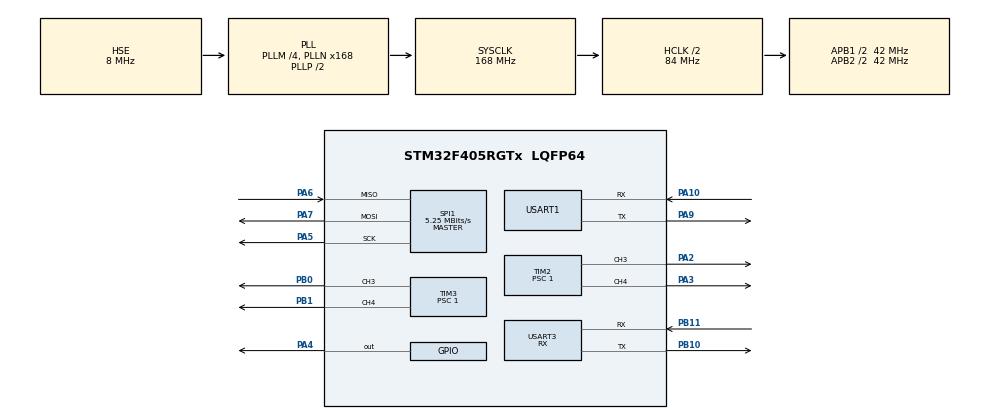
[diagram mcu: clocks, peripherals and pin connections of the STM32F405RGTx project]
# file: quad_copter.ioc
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Mcu.Family=STM32F4
Mcu.Name=STM32F405RGTx
Mcu.Package=LQFP64
NVIC.PriorityGroup=NVIC_PRIORITYGROUP_4
NVIC.TIM4_IRQn=true\:0\:0\:false\:false\:true\:true\:true\:true
NVIC.TIM5_IRQn=true\:0\:0\:false\:false\:true\:true\:true\:true
NVIC.TIM8_UP_TIM13_IRQn=true\:0\:0\:false\:false\:true\:true\:true\:true
NVIC.USART1_IRQn=true\:0\:0\:false\:false\:true\:true\:true\:true
NVIC.USART3_IRQn=true\:0\:0\:false\:false\:true\:true\:true\:true
PA10.Mode=Asynchronous
PA10.Signal=USART1_RX
PA2.Signal=S_TIM2_CH3
PA3.Signal=S_TIM2_CH4
PA4.GPIO_Speed=GPIO_SPEED_FREQ_VERY_HIGH
PA4.Signal=GPIO_Output
PA5.Mode=Full_Duplex_Master
PA5.Signal=SPI1_SCK
PA6.Mode=Full_Duplex_Master
PA6.Signal=SPI1_MISO
PA7.Mode=Full_Duplex_Master
PA7.Signal=SPI1_MOSI
PA9.Mode=Asynchronous
PA9.Signal=USART1_TX
PB0.Signal=S_TIM3_CH3
PB1.Signal=S_TIM3_CH4
PB10.Mode=Asynchronous
PB10.Signal=USART3_TX
PB11.Mode=Asynchronous
PB11.Signal=USART3_RX
PH0-OSC_IN.Mode=HSE-External-Oscillator
PH0-OSC_IN.Signal=RCC_OSC_IN
PH1-OSC_OUT.Mode=HSE-External-Oscillator
PH1-OSC_OUT.Signal=RCC_OSC_OUT
ProjectManager.HeapSize=0x200
ProjectManager.StackSize=0x400
ProjectManager.TargetToolchain=STM32CubeIDE
RCC.48MHZClocksFreq_Value=84000000
RCC.AHBCLKDivider=RCC_SYSCLK_DIV2
RCC.AHBFreq_Value=84000000
RCC.APB1CLKDivider=RCC_HCLK_DIV2
RCC.APB1Freq_Value=42000000
RCC.APB1TimFreq_Value=84000000
RCC.APB2CLKDivider=RCC_HCLK_DIV2
RCC.APB2Freq_Value=42000000
RCC.APB2TimFreq_Value=84000000
RCC.CortexFreq_Value=84000000
RCC.HCLKFreq_Value=84000000
RCC.HSE_VALUE=8000000
RCC.HSI_VALUE=16000000
RCC.LSE_VALUE=32768
RCC.PLLM=4
RCC.PLLN=168
RCC.PLLSourceVirtual=RCC_PLLSOURCE_HSE
RCC.SYSCLKFreq_VALUE=168000000
RCC.SYSCLKSource=RCC_SYSCLKSOURCE_PLLCLK
RCC.VCOOutputFreq_Value=336000000
SH.S_TIM2_CH3.0=TIM2_CH3,PWM Generation3 CH3
SH.S_TIM2_CH4.0=TIM2_CH4,PWM Generation4 CH4
SH.S_TIM3_CH3.0=TIM3_CH3,PWM Generation3 CH3
SH.S_TIM3_CH4.0=TIM3_CH4,PWM Generation4 CH4
SPI1.BaudRatePrescaler=SPI_BAUDRATEPRESCALER_8
SPI1.CLKPhase=SPI_PHASE_2EDGE
SPI1.CLKPolarity=SPI_POLARITY_HIGH
SPI1.CalculateBaudRate=5.25 MBits/s
SPI1.Direction=SPI_DIRECTION_2LINES
SPI1.Mode=SPI_MODE_MASTER
SPI1.VirtualType=VM_MASTER
TIM13.Channel=TIM_CHANNEL_1
TIM13.Period=4999
TIM13.Prescaler=839
TIM2.Channel-PWM\ Generation3\ CH3=TIM_CHANNEL_3
TIM2.Channel-PWM\ Generation4\ CH4=TIM_CHANNEL_4
TIM2.Period=10500
TIM2.Prescaler=1
TIM3.Channel-PWM\ Generation3\ CH3=TIM_CHANNEL_3
TIM3.Channel-PWM\ Generation4\ CH4=TIM_CHANNEL_4
TIM3.Period=10500
TIM3.Prescaler=1
TIM4.Channel-Output\ Compare1\ No\ Output=TIM_CHANNEL_1
TIM4.Period=999
TIM4.Prescaler=83
TIM5.Channel-Output\ Compare1\ No\ Output=TIM_CHANNEL_1
TIM5.Period=999
TIM5.Prescaler=83
USART1.VirtualMode=VM_ASYNC
USART3.Mode=MODE_RX
USART3.VirtualMode=VM_ASYNC
VP_TIM13_VS_ClockSourceINT.Mode=Enable_Timer
VP_TIM13_VS_no_output1.Mode=Output Compare1 No Output
VP_TIM4_VS_no_output1.Mode=Output Compare1 No Output
VP_TIM5_VS_no_output1.Mode=Output Compare1 No Output
board=custom

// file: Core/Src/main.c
/* USER CODE BEGIN Header */
/**
  ******************************************************************************
  * @file           : main.c
  * @brief          : Main program body
  ******************************************************************************
  * @attention
  *
  * Copyright (c) 2023 STMicroelectronics.
  * All rights reserved.
  *
  * This software is licensed under terms that can be found in the LICENSE file
  * in the root directory of this software component.
  * If no LICENSE file comes with this software, it is provided AS-IS.
  *
  ******************************************************************************
  */
/* USER CODE END Header */
#include "main.h"

/* USER CODE BEGIN Includes */
#include "dynamics.h"
#include "sensor.h"
#include "uart_utils.h"
#include "esc.h"
#include "timer.h"
#include <stdio.h>
#include "tick.h"
#include "control_receive.h"
#include "gain_receive.h"
#include "debug_transmit.h"
/* USER CODE END Includes */

SPI_HandleTypeDef hspi1;

TIM_HandleTypeDef htim2;
TIM_HandleTypeDef htim3;
TIM_HandleTypeDef htim4;
TIM_HandleTypeDef htim5;
TIM_HandleTypeDef htim13;

void SystemClock_Config(void);
static void MX_GPIO_Init(void);
static void MX_SPI1_Init(void);
static void MX_TIM2_Init(void);
static void MX_TIM3_Init(void);
static void MX_TIM4_Init(void);
static void MX_USART1_UART_Init(void);
static void MX_USART3_UART_Init(void);
static void MX_TIM5_Init(void);
static void MX_TIM13_Init(void);

/* USER CODE BEGIN 0 */
int cnt = 0;
void loop () {
  if (euler_state_update_plan) {
    read_mpu_sensor();
    update_euler_state();

    euler_state_update_plan = 0;
  }
  if (esc_update_plan) {
    if (shutdown) {
      terminate_esc();
      shutdown = 0;
    } else {
      update_output();
    }

    /* if (cnt > 1000) {
      printf("%f %f %f %f %d %d\n", command[0], command[1], command[2], command[3], shutdown, control[4]);
      fflush(stdout);
      cnt = 0;
    } else {
      cnt++;
    } */
    esc_update_plan = 0;
  }
  if (debug_values_tx_plan) {
    process_debug_values_tx();
    debug_values_tx_plan = 0;
  }
}
/* USER CODE END 0 */

int main(void)
{

  /* MCU Configuration--------------------------------------------------------*/

  /* Reset of all peripherals, Initializes the Flash interface and the Systick. */
  HAL_Init();

  /* Configure the system clock */
  SystemClock_Config();

  /* USER CODE BEGIN SysInit */
  /* HAL_SYSTICK_Config(HAL_RCC_GetHCLKFreq() / 100000);
  HAL_SYSTICK_CLKSourceConfig(SYSTICK_CLKSOURCE_HCLK); */
  /* USER CODE END SysInit */

  /* Initialize all configured peripherals */
  MX_GPIO_Init();
  MX_SPI1_Init();
  MX_TIM2_Init();
  MX_TIM3_Init();
  MX_TIM4_Init();
  MX_USART1_UART_Init();
  MX_USART3_UART_Init();
  MX_TIM5_Init();
  MX_TIM13_Init();
  /* USER CODE BEGIN 2 */
  init_uart();
  init_mpu();
  calibrate_mpu();
  start_esc();
  skip_arming_mode();
  // do_calibration();
  start_esc_update_tim();
  start_sensor_update_tim();
  start_debug_values_tx_tim();
  /* USER CODE END 2 */

  /* Infinite loop */
  /* USER CODE BEGIN WHILE */
  while (1)
  {
    loop();
    /* USER CODE END WHILE */

  }
}

void SystemClock_Config(void)
{
  RCC_OscInitTypeDef RCC_OscInitStruct = {0};
  RCC_ClkInitTypeDef RCC_ClkInitStruct = {0};

  /** Configure the main internal regulator output voltage
  */
  __HAL_RCC_PWR_CLK_ENABLE();
  __HAL_PWR_VOLTAGESCALING_CONFIG(PWR_REGULATOR_VOLTAGE_SCALE1);

  /** Initializes the RCC Oscillators according to the specified parameters
  * in the RCC_OscInitTypeDef structure.
  */
  RCC_OscInitStruct.OscillatorType = RCC_OSCILLATORTYPE_HSE;
  RCC_OscInitStruct.HSEState = RCC_HSE_ON;
  RCC_OscInitStruct.PLL.PLLState = RCC_PLL_ON;
  RCC_OscInitStruct.PLL.PLLSource = RCC_PLLSOURCE_HSE;
  RCC_OscInitStruct.PLL.PLLM = 4;
  RCC_OscInitStruct.PLL.PLLN = 168;
  RCC_OscInitStruct.PLL.PLLP = RCC_PLLP_DIV2;
  RCC_OscInitStruct.PLL.PLLQ = 4;
  if (HAL_RCC_OscConfig(&RCC_OscInitStruct) != HAL_OK)
  {
    Error_Handler();
  }

  /** Initializes the CPU, AHB and APB buses clocks
  */
  RCC_ClkInitStruct.ClockType = RCC_CLOCKTYPE_HCLK|RCC_CLOCKTYPE_SYSCLK
                              |RCC_CLOCKTYPE_PCLK1|RCC_CLOCKTYPE_PCLK2;
  RCC_ClkInitStruct.SYSCLKSource = RCC_SYSCLKSOURCE_PLLCLK;
  RCC_ClkInitStruct.AHBCLKDivider = RCC_SYSCLK_DIV2;
  RCC_ClkInitStruct.APB1CLKDivider = RCC_HCLK_DIV2;
  RCC_ClkInitStruct.APB2CLKDivider = RCC_HCLK_DIV2;

  if (HAL_RCC_ClockConfig(&RCC_ClkInitStruct, FLASH_LATENCY_2) != HAL_OK)
  {
    Error_Handler();
  }
}

static void MX_SPI1_Init(void)
{

  /* SPI1 parameter configuration*/
  hspi1.Instance = SPI1;
  hspi1.Init.Mode = SPI_MODE_MASTER;
  hspi1.Init.Direction = SPI_DIRECTION_2LINES;
  hspi1.Init.DataSize = SPI_DATASIZE_8BIT;
  hspi1.Init.CLKPolarity = SPI_POLARITY_HIGH;
  hspi1.Init.CLKPhase = SPI_PHASE_2EDGE;
  hspi1.Init.NSS = SPI_NSS_SOFT;
  hspi1.Init.BaudRatePrescaler = SPI_BAUDRATEPRESCALER_8;
  hspi1.Init.FirstBit = SPI_FIRSTBIT_MSB;
  hspi1.Init.TIMode = SPI_TIMODE_DISABLE;
  hspi1.Init.CRCCalculation = SPI_CRCCALCULATION_DISABLE;
  hspi1.Init.CRCPolynomial = 10;
  if (HAL_SPI_Init(&hspi1) != HAL_OK)
  {
    Error_Handler();
  }

}

static void MX_TIM2_Init(void)
{

  TIM_MasterConfigTypeDef sMasterConfig = {0};
  TIM_OC_InitTypeDef sConfigOC = {0};

  htim2.Instance = TIM2;
  htim2.Init.Prescaler = 1;
  htim2.Init.CounterMode = TIM_COUNTERMODE_UP;
  htim2.Init.Period = 10500;
  htim2.Init.ClockDivision = TIM_CLOCKDIVISION_DIV1;
  htim2.Init.AutoReloadPreload = TIM_AUTORELOAD_PRELOAD_DISABLE;
  if (HAL_TIM_PWM_Init(&htim2) != HAL_OK)
  {
    Error_Handler();
  }
  sMasterConfig.MasterOutputTrigger = TIM_TRGO_RESET;
  sMasterConfig.MasterSlaveMode = TIM_MASTERSLAVEMODE_DISABLE;
  if (HAL_TIMEx_MasterConfigSynchronization(&htim2, &sMasterConfig) != HAL_OK)
  {
    Error_Handler();
  }
  sConfigOC.OCMode = TIM_OCMODE_PWM1;
  sConfigOC.Pulse = 0;
  sConfigOC.OCPolarity = TIM_OCPOLARITY_HIGH;
  sConfigOC.OCFastMode = TIM_OCFAST_DISABLE;
  if (HAL_TIM_PWM_ConfigChannel(&htim2, &sConfigOC, TIM_CHANNEL_3) != HAL_OK)
  {
    Error_Handler();
  }
  if (HAL_TIM_PWM_ConfigChannel(&htim2, &sConfigOC, TIM_CHANNEL_4) != HAL_OK)
  {
    Error_Handler();
  }
  HAL_TIM_MspPostInit(&htim2);

}

static void MX_TIM3_Init(void)
{

  TIM_MasterConfigTypeDef sMasterConfig = {0};
  TIM_OC_InitTypeDef sConfigOC = {0};

  htim3.Instance = TIM3;
  htim3.Init.Prescaler = 1;
  htim3.Init.CounterMode = TIM_COUNTERMODE_UP;
  htim3.Init.Period = 10500;
  htim3.Init.ClockDivision = TIM_CLOCKDIVISION_DIV1;
  htim3.Init.AutoReloadPreload = TIM_AUTORELOAD_PRELOAD_DISABLE;
  if (HAL_TIM_PWM_Init(&htim3) != HAL_OK)
  {
    Error_Handler();
  }
  sMasterConfig.MasterOutputTrigger = TIM_TRGO_RESET;
  sMasterConfig.MasterSlaveMode = TIM_MASTERSLAVEMODE_DISABLE;
  if (HAL_TIMEx_MasterConfigSynchronization(&htim3, &sMasterConfig) != HAL_OK)
  {
    Error_Handler();
  }
  sConfigOC.OCMode = TIM_OCMODE_PWM1;
  sConfigOC.Pulse = 0;
  sConfigOC.OCPolarity = TIM_OCPOLARITY_HIGH;
  sConfigOC.OCFastMode = TIM_OCFAST_DISABLE;
  if (HAL_TIM_PWM_ConfigChannel(&htim3, &sConfigOC, TIM_CHANNEL_3) != HAL_OK)
  {
    Error_Handler();
  }
  if (HAL_TIM_PWM_ConfigChannel(&htim3, &sConfigOC, TIM_CHANNEL_4) != HAL_OK)
  {
    Error_Handler();
  }
  HAL_TIM_MspPostInit(&htim3);

}

static void MX_TIM4_Init(void)
{

  TIM_MasterConfigTypeDef sMasterConfig = {0};
  TIM_OC_InitTypeDef sConfigOC = {0};

  htim4.Instance = TIM4;
  htim4.Init.Prescaler = 83;
  htim4.Init.CounterMode = TIM_COUNTERMODE_UP;
  htim4.Init.Period = 999;
  htim4.Init.ClockDivision = TIM_CLOCKDIVISION_DIV1;
  htim4.Init.AutoReloadPreload = TIM_AUTORELOAD_PRELOAD_DISABLE;
  if (HAL_TIM_OC_Init(&htim4) != HAL_OK)
  {
    Error_Handler();
  }
  sMasterConfig.MasterOutputTrigger = TIM_TRGO_RESET;
  sMasterConfig.MasterSlaveMode = TIM_MASTERSLAVEMODE_DISABLE;
  if (HAL_TIMEx_MasterConfigSynchronization(&htim4, &sMasterConfig) != HAL_OK)
  {
    Error_Handler();
  }
  sConfigOC.OCMode = TIM_OCMODE_TIMING;
  sConfigOC.Pulse = 0;
  sConfigOC.OCPolarity = TIM_OCPOLARITY_HIGH;
  sConfigOC.OCFastMode = TIM_OCFAST_DISABLE;
  if (HAL_TIM_OC_ConfigChannel(&htim4, &sConfigOC, TIM_CHANNEL_1) != HAL_OK)
  {
    Error_Handler();
  }

}

static void MX_TIM5_Init(void)
{

  TIM_MasterConfigTypeDef sMasterConfig = {0};
  TIM_OC_InitTypeDef sConfigOC = {0};

  htim5.Instance = TIM5;
  htim5.Init.Prescaler = 83;
  htim5.Init.CounterMode = TIM_COUNTERMODE_UP;
  htim5.Init.Period = 999;
  htim5.Init.ClockDivision = TIM_CLOCKDIVISION_DIV1;
  htim5.Init.AutoReloadPreload = TIM_AUTORELOAD_PRELOAD_DISABLE;
  if (HAL_TIM_OC_Init(&htim5) != HAL_OK)
  {
    Error_Handler();
  }
  sMasterConfig.MasterOutputTrigger = TIM_TRGO_RESET;
  sMasterConfig.MasterSlaveMode = TIM_MASTERSLAVEMODE_DISABLE;
  if (HAL_TIMEx_MasterConfigSynchronization(&htim5, &sMasterConfig) != HAL_OK)
  {
    Error_Handler();
  }
  sConfigOC.OCMode = TIM_OCMODE_TIMING;
  sConfigOC.Pulse = 0;
  sConfigOC.OCPolarity = TIM_OCPOLARITY_HIGH;
  sConfigOC.OCFastMode = TIM_OCFAST_DISABLE;
  if (HAL_TIM_OC_ConfigChannel(&htim5, &sConfigOC, TIM_CHANNEL_1) != HAL_OK)
  {
    Error_Handler();
  }

}

static void MX_TIM13_Init(void)
{

  TIM_OC_InitTypeDef sConfigOC = {0};

  htim13.Instance = TIM13;
  htim13.Init.Prescaler = 839;
  htim13.Init.CounterMode = TIM_COUNTERMODE_UP;
  htim13.Init.Period = 4999;
  htim13.Init.ClockDivision = TIM_CLOCKDIVISION_DIV1;
  htim13.Init.AutoReloadPreload = TIM_AUTORELOAD_PRELOAD_DISABLE;
  if (HAL_TIM_Base_Init(&htim13) != HAL_OK)
  {
    Error_Handler();
  }
  if (HAL_TIM_OC_Init(&htim13) != HAL_OK)
  {
    Error_Handler();
  }
  sConfigOC.OCMode = TIM_OCMODE_TIMING;
  sConfigOC.Pulse = 0;
  sConfigOC.OCPolarity = TIM_OCPOLARITY_HIGH;
  sConfigOC.OCFastMode = TIM_OCFAST_DISABLE;
  if (HAL_TIM_OC_ConfigChannel(&htim13, &sConfigOC, TIM_CHANNEL_1) != HAL_OK)
  {
    Error_Handler();
  }

}

static void MX_USART1_UART_Init(void)
{

  LL_USART_InitTypeDef USART_InitStruct = {0};

  LL_GPIO_InitTypeDef GPIO_InitStruct = {0};

  /* Peripheral clock enable */
  LL_APB2_GRP1_EnableClock(LL_APB2_GRP1_PERIPH_USART1);

  LL_AHB1_GRP1_EnableClock(LL_AHB1_GRP1_PERIPH_GPIOA);
  /**USART1 GPIO Configuration
  PA9   ------> USART1_TX
  PA10   ------> USART1_RX
  */
  GPIO_InitStruct.Pin = LL_GPIO_PIN_9|LL_GPIO_PIN_10;
  GPIO_InitStruct.Mode = LL_GPIO_MODE_ALTERNATE;
  GPIO_InitStruct.Speed = LL_GPIO_SPEED_FREQ_VERY_HIGH;
  GPIO_InitStruct.OutputType = LL_GPIO_OUTPUT_PUSHPULL;
  GPIO_InitStruct.Pull = LL_GPIO_PULL_NO;
  GPIO_InitStruct.Alternate = LL_GPIO_AF_7;
  LL_GPIO_Init(GPIOA, &GPIO_InitStruct);

  /* USART1 interrupt Init */
  NVIC_SetPriority(USART1_IRQn, NVIC_EncodePriority(NVIC_GetPriorityGrouping(),0, 0));
  NVIC_EnableIRQ(USART1_IRQn);

  USART_InitStruct.BaudRate = 115200;
  USART_InitStruct.DataWidth = LL_USART_DATAWIDTH_8B;
  USART_InitStruct.StopBits = LL_USART_STOPBITS_1;
  USART_InitStruct.Parity = LL_USART_PARITY_NONE;
  USART_InitStruct.TransferDirection = LL_USART_DIRECTION_TX_RX;
  USART_InitStruct.HardwareFlowControl = LL_USART_HWCONTROL_NONE;
  USART_InitStruct.OverSampling = LL_USART_OVERSAMPLING_16;
  LL_USART_Init(USART1, &USART_InitStruct);
  LL_USART_ConfigAsyncMode(USART1);
  LL_USART_Enable(USART1);

}

static void MX_USART3_UART_Init(void)
{

  LL_USART_InitTypeDef USART_InitStruct = {0};

  LL_GPIO_InitTypeDef GPIO_InitStruct = {0};

  /* Peripheral clock enable */
  LL_APB1_GRP1_EnableClock(LL_APB1_GRP1_PERIPH_USART3);

  LL_AHB1_GRP1_EnableClock(LL_AHB1_GRP1_PERIPH_GPIOB);
  /**USART3 GPIO Configuration
  PB10   ------> USART3_TX
  PB11   ------> USART3_RX
  */
  GPIO_InitStruct.Pin = LL_GPIO_PIN_10|LL_GPIO_PIN_11;
  GPIO_InitStruct.Mode = LL_GPIO_MODE_ALTERNATE;
  GPIO_InitStruct.Speed = LL_GPIO_SPEED_FREQ_VERY_HIGH;
  GPIO_InitStruct.OutputType = LL_GPIO_OUTPUT_PUSHPULL;
  GPIO_InitStruct.Pull = LL_GPIO_PULL_NO;
  GPIO_InitStruct.Alternate = LL_GPIO_AF_7;
  LL_GPIO_Init(GPIOB, &GPIO_InitStruct);

  /* USART3 interrupt Init */
  NVIC_SetPriority(USART3_IRQn, NVIC_EncodePriority(NVIC_GetPriorityGrouping(),0, 0));
  NVIC_EnableIRQ(USART3_IRQn);

  USART_InitStruct.BaudRate = 115200;
  USART_InitStruct.DataWidth = LL_USART_DATAWIDTH_8B;
  USART_InitStruct.StopBits = LL_USART_STOPBITS_1;
  USART_InitStruct.Parity = LL_USART_PARITY_NONE;
  USART_InitStruct.TransferDirection = LL_USART_DIRECTION_RX;
  USART_InitStruct.HardwareFlowControl = LL_USART_HWCONTROL_NONE;
  USART_InitStruct.OverSampling = LL_USART_OVERSAMPLING_16;
  LL_USART_Init(USART3, &USART_InitStruct);
  LL_USART_ConfigAsyncMode(USART3);
  LL_USART_Enable(USART3);

}

static void MX_GPIO_Init(void)
{
  GPIO_InitTypeDef GPIO_InitStruct = {0};

  /* GPIO Ports Clock Enable */
  __HAL_RCC_GPIOH_CLK_ENABLE();
  __HAL_RCC_GPIOA_CLK_ENABLE();
  __HAL_RCC_GPIOB_CLK_ENABLE();

  /*Configure GPIO pin Output Level */
  HAL_GPIO_WritePin(GPIOA, GPIO_PIN_4, GPIO_PIN_RESET);

  /*Configure GPIO pin : PA4 */
  GPIO_InitStruct.Pin = GPIO_PIN_4;
  GPIO_InitStruct.Mode = GPIO_MODE_OUTPUT_PP;
  GPIO_InitStruct.Pull = GPIO_NOPULL;
  GPIO_InitStruct.Speed = GPIO_SPEED_FREQ_VERY_HIGH;
  HAL_GPIO_Init(GPIOA, &GPIO_InitStruct);

}

void Error_Handler(void)
{
  __disable_irq();
  while (1)
  {
  }
}
